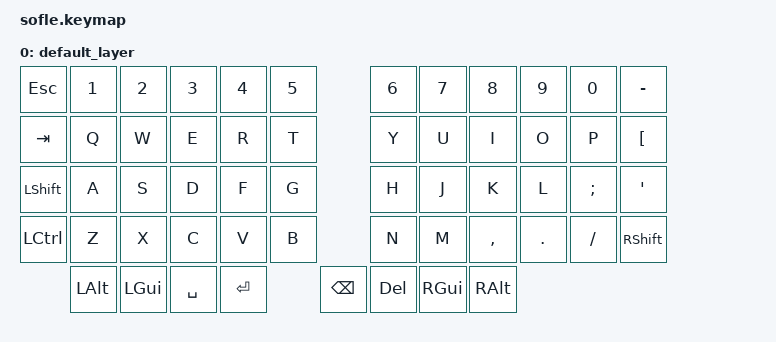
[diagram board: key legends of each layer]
/ {
    keymap {
        compatible = "zmk,keymap";

        default_layer {
            bindings = <
                &kp ESC     &kp 1       &kp 2       &kp 3       &kp 4       &kp 5                       &kp 6       &kp 7       &kp 8       &kp 9       &kp 0       &kp MINUS
                &kp TAB     &kp Q       &kp W       &kp E       &kp R       &kp T                       &kp Y       &kp U       &kp I       &kp O       &kp P       &kp LBKT
                &kp LSHIFT  &kp A       &kp S       &kp D       &kp F       &kp G                       &kp H       &kp J       &kp K       &kp L       &kp SEMI    &kp APOS
                &kp LCTRL   &kp Z       &kp X       &kp C       &kp V       &kp B                       &kp N       &kp M       &kp COMMA   &kp DOT     &kp FSLH    &kp RSHIFT
                            &kp LALT    &kp LGUI    &kp SPACE   &kp ENTER                   &kp BSPC    &kp DEL     &kp RGUI    &kp RALT
            >;
        };
    };
};
